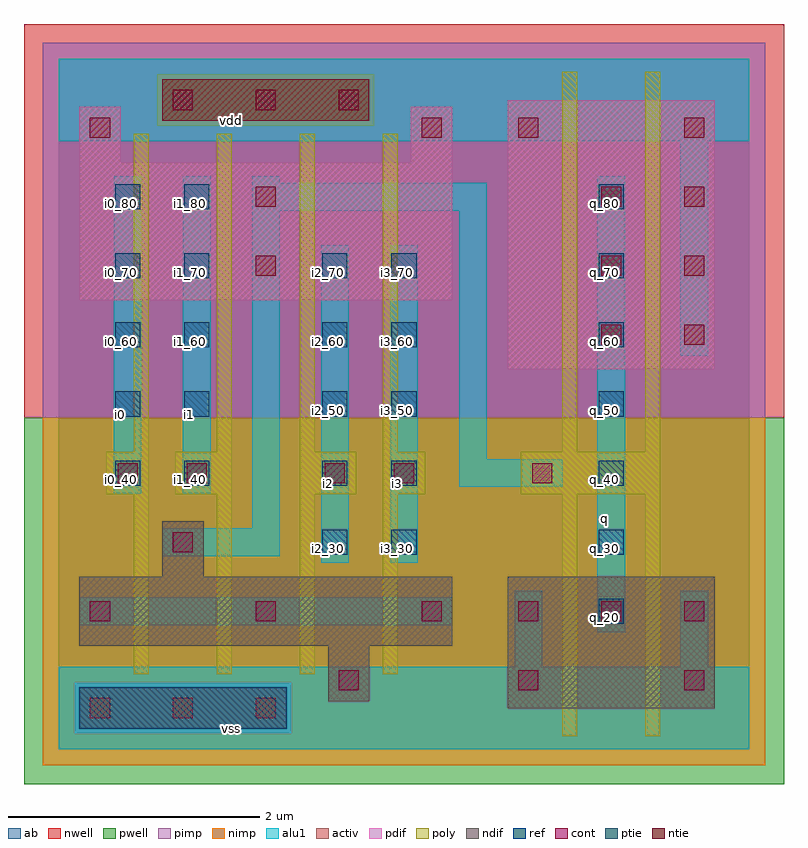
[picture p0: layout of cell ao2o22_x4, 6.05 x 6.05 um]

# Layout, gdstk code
import gdstk
lib = gdstk.Library(unit=1e-6, precision=2.5e-09)
def R(c, l, rs):  # rectangles x0, y0, x1, y1
    for r in rs: c.add(gdstk.rectangle(r[:2], r[2:], *l))
def A(c, l, x, y, w, h, nx, ny, dx, dy):  # array of equal rectangles
    R(c, l, [(x+i*dx, y+j*dy, x+i*dx+w, y+j*dy+h) for i in range(nx) for j in range(ny)])
ndif = (3, 0)
pdif = (4, 0)
ntie = (5, 0)
ptie = (6, 0)
ref = (24, 0)
cont = (25, 0)
pwell = (41, 0)
nwell = (42, 0)
activ = (43, 0)
pimp = (44, 0)
nimp = (45, 0)
poly = (46, 0)
alu1 = (49, 0)
ab = (63, 0)

ao2o22_x4 = lib.new_cell('ao2o22_x4')
R(ao2o22_x4, ndif, [(3.575,0.33,5.225,1.375), (2.145,0.385,2.475,0.825), (0.165,0.825,3.135,1.375), (0.825,1.375,1.155,1.815)])
R(ao2o22_x4, pdif, [(3.575,3.025,5.225,5.17), (0.165,3.575,3.135,4.675), (0.165,4.675,0.495,5.115), (2.805,4.675,3.135,5.115)])
R(ao2o22_x4, ntie, [(0.825,5.005,2.475,5.335)])
R(ao2o22_x4, ptie, [(0.165,0.165,1.815,0.495)])
A(ao2o22_x4, ref, 4.3, 1, 0.2, 0.2, 1, 7, 0, 0.55)
A(ao2o22_x4, ref, 2.1, 1.55, 0.2, 0.2, 1, 5, 0, 0.55)
A(ao2o22_x4, ref, 2.65, 1.55, 0.2, 0.2, 1, 5, 0, 0.55)
A(ao2o22_x4, ref, 0.45, 2.1, 0.2, 0.2, 1, 5, 0, 0.55)
A(ao2o22_x4, ref, 1, 2.1, 0.2, 0.2, 1, 5, 0, 0.55)
A(ao2o22_x4, cont, 0.25, 0.25, 0.16, 0.16, 3, 1, 0.66, 0)
A(ao2o22_x4, cont, 0.25, 1.02, 0.16, 0.16, 3, 1, 1.32, 0)
A(ao2o22_x4, cont, 3.66, 1.02, 0.16, 0.16, 3, 1, 0.66, 0)
A(ao2o22_x4, cont, 4.32, 3.22, 0.16, 0.16, 1, 3, 0, 0.55)
A(ao2o22_x4, cont, 4.98, 3.22, 0.16, 0.16, 1, 4, 0, 0.55)
A(ao2o22_x4, cont, 0.91, 5.09, 0.16, 0.16, 3, 1, 0.66, 0)
R(ao2o22_x4, cont, [(2.23,0.47,2.39,0.63), (3.66,0.47,3.82,0.63), (4.98,0.47,5.14,0.63), (0.91,1.57,1.07,1.73), (0.47,2.12,0.63,2.28), (1.02,2.12,1.18,2.28), (2.12,2.12,2.28,2.28), (2.67,2.12,2.83,2.28), (3.77,2.12,3.93,2.28), (1.57,3.77,1.73,3.93), (1.57,4.32,1.73,4.48), (0.25,4.87,0.41,5.03), (2.89,4.87,3.05,5.03), (3.66,4.87,3.82,5.03)])
R(ao2o22_x4, pwell, [(-0.275,-0.275,5.775,2.64)])
R(ao2o22_x4, nwell, [(-0.275,2.64,5.775,5.775)])
R(ao2o22_x4, activ, [(0.165,0.165,1.815,0.495), (3.575,0.33,5.225,1.375), (2.145,0.385,2.475,0.825), (0.165,0.825,3.135,1.375), (0.825,1.375,1.155,1.815), (3.575,3.025,5.225,5.17), (0.165,3.575,3.135,4.675), (0.165,4.675,0.495,5.115), (2.805,4.675,3.135,5.115), (0.825,5.005,2.475,5.335)])
R(ao2o22_x4, pimp, [(0.125,0.125,1.855,0.535), (-0.125,2.64,5.625,4.965), (-0.125,4.965,0.785,5.375), (2.515,4.965,5.625,5.375), (-0.125,5.375,5.625,5.625)])
R(ao2o22_x4, nimp, [(-0.125,-0.125,5.625,0.125), (-0.125,0.125,0.125,0.535), (1.855,0.125,5.625,0.535), (-0.125,0.535,5.625,2.64), (0.785,4.965,2.515,5.375)])
A(ao2o22_x4, poly, 0.6, 0.6, 0.12, 1.43, 4, 1, 0.66, 0)
A(ao2o22_x4, poly, 0.6, 2.37, 0.12, 2.53, 4, 1, 0.66, 0)
R(ao2o22_x4, poly, [(4.01,0.105,4.13,2.03), (4.67,0.105,4.79,2.03), (0.38,2.03,0.72,2.37), (0.93,2.03,1.38,2.37), (1.92,2.03,2.37,2.37), (2.58,2.03,2.92,2.37), (3.68,2.03,4.79,2.37), (4.01,2.37,4.13,5.395), (4.67,2.37,4.79,5.395)])
R(ao2o22_x4, alu1, [(0,0,5.5,0.66), (3.63,0.66,3.85,1.265), (4.95,0.66,5.17,1.265), (4.29,0.935,4.51,4.565), (0.165,0.99,3.135,1.21), (2.09,1.485,2.31,4.015), (2.64,1.485,2.86,4.015), (0.825,1.54,1.76,1.76), (1.54,1.76,1.76,4.29), (0.44,2.035,0.66,4.565), (0.99,2.035,1.21,4.565), (3.19,2.09,4.015,2.31), (3.19,2.31,3.41,4.29), (4.95,3.135,5.17,4.84), (1.54,4.29,3.41,4.51), (1.54,4.51,1.76,4.565), (0,4.84,5.5,5.5)])
R(ao2o22_x4, ab, [(0,0,5.5,5.5)])
ao2o22_x4.add(gdstk.Label('vss', (1.375,0.165), layer=49, texttype=0))
ao2o22_x4.add(gdstk.Label('q', (4.345,1.8425), layer=49, texttype=0))
ao2o22_x4.add(gdstk.Label('i3', (2.695,2.1175), layer=49, texttype=0))
ao2o22_x4.add(gdstk.Label('i2', (2.145,2.1175), layer=49, texttype=0))
ao2o22_x4.add(gdstk.Label('i1', (1.045,2.6675), layer=49, texttype=0))
ao2o22_x4.add(gdstk.Label('i0', (0.495,2.6675), layer=49, texttype=0))
ao2o22_x4.add(gdstk.Label('vdd', (1.375,5.005), layer=49, texttype=0))
ao2o22_x4.add(gdstk.Label('i0_40', (0.5,2.15), layer=24, texttype=0))
ao2o22_x4.add(gdstk.Label('i0_50', (0.5,2.7), layer=24, texttype=0))
ao2o22_x4.add(gdstk.Label('i0_60', (0.5,3.25), layer=24, texttype=0))
ao2o22_x4.add(gdstk.Label('i1_60', (1.05,3.25), layer=24, texttype=0))
ao2o22_x4.add(gdstk.Label('i1_50', (1.05,2.7), layer=24, texttype=0))
ao2o22_x4.add(gdstk.Label('i1_40', (1.05,2.15), layer=24, texttype=0))
ao2o22_x4.add(gdstk.Label('i2_30', (2.15,1.6), layer=24, texttype=0))
ao2o22_x4.add(gdstk.Label('i2_40', (2.15,2.15), layer=24, texttype=0))
ao2o22_x4.add(gdstk.Label('i2_50', (2.15,2.7), layer=24, texttype=0))
ao2o22_x4.add(gdstk.Label('i2_60', (2.15,3.25), layer=24, texttype=0))
ao2o22_x4.add(gdstk.Label('i3_60', (2.7,3.25), layer=24, texttype=0))
ao2o22_x4.add(gdstk.Label('i3_50', (2.7,2.7), layer=24, texttype=0))
ao2o22_x4.add(gdstk.Label('i3_40', (2.7,2.15), layer=24, texttype=0))
ao2o22_x4.add(gdstk.Label('i3_30', (2.7,1.6), layer=24, texttype=0))
ao2o22_x4.add(gdstk.Label('i0_70', (0.5,3.8), layer=24, texttype=0))
ao2o22_x4.add(gdstk.Label('i0_80', (0.5,4.35), layer=24, texttype=0))
ao2o22_x4.add(gdstk.Label('i1_80', (1.05,4.35), layer=24, texttype=0))
ao2o22_x4.add(gdstk.Label('i1_70', (1.05,3.8), layer=24, texttype=0))
ao2o22_x4.add(gdstk.Label('i2_70', (2.15,3.8), layer=24, texttype=0))
ao2o22_x4.add(gdstk.Label('i3_70', (2.7,3.8), layer=24, texttype=0))
ao2o22_x4.add(gdstk.Label('q_80', (4.35,4.35), layer=24, texttype=0))
ao2o22_x4.add(gdstk.Label('q_40', (4.35,2.15), layer=24, texttype=0))
ao2o22_x4.add(gdstk.Label('q_60', (4.35,3.25), layer=24, texttype=0))
ao2o22_x4.add(gdstk.Label('q_70', (4.35,3.8), layer=24, texttype=0))
ao2o22_x4.add(gdstk.Label('q_50', (4.35,2.7), layer=24, texttype=0))
ao2o22_x4.add(gdstk.Label('q_30', (4.35,1.6), layer=24, texttype=0))
ao2o22_x4.add(gdstk.Label('q_20', (4.35,1.05), layer=24, texttype=0))

lib.write_gds('ao2o22_x4.gds')
